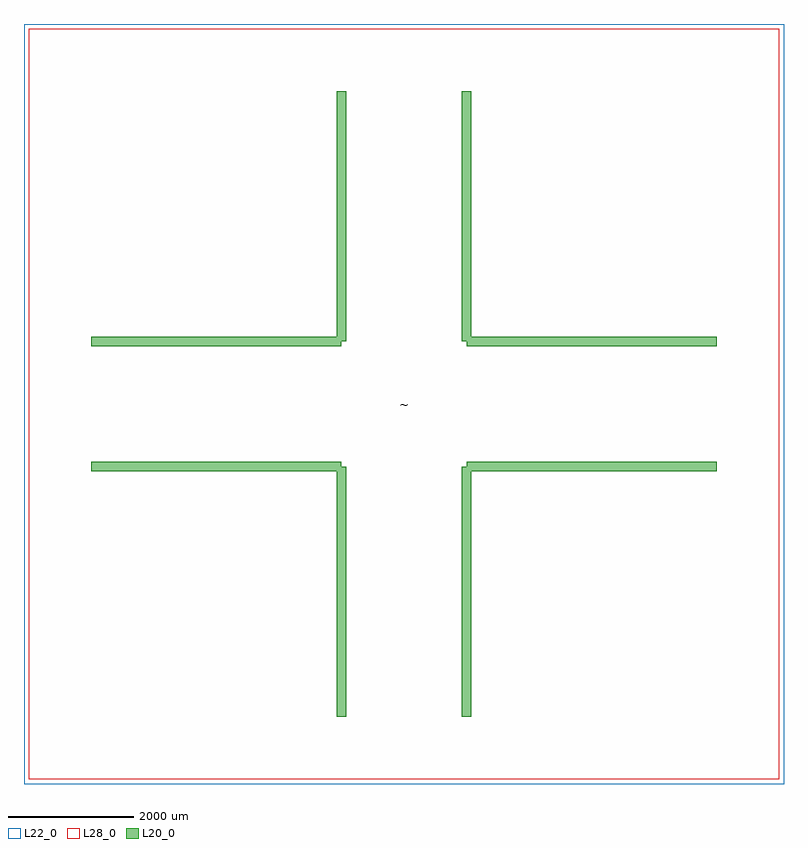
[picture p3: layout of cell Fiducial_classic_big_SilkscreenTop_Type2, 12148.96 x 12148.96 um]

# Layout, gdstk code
import gdstk
lib = gdstk.Library(unit=1e-6, precision=1e-09)
def R(c, l, rs):  # rectangles x0, y0, x1, y1
    for r in rs: c.add(gdstk.rectangle(r[:2], r[2:], *l))
L20_0 = (20, 0)
L22_0 = (22, 0)
L28_0 = (28, 0)

fiducial_classic_big_sil = lib.new_cell('Fiducial_classic_big_SilkscreenTop_Type2')
R(fiducial_classic_big_sil, L22_0, [(-6074.48,-6074.48,6074.48,6074.48)])
R(fiducial_classic_big_sil, L28_0, [(-5999.48,-5999.48,5999.48,5999.48)])
fiducial_classic_big_sil.add(gdstk.FlexPath([(1000.76,1000.76),(1000.76,5001.26)], 149.998, ends="flush", simple_path=True, layer=20, datatype=0))  # L20_0
fiducial_classic_big_sil.add(gdstk.FlexPath([(1000.76,1000.76),(5001.26,1000.76)], 149.998, ends="flush", simple_path=True, layer=20, datatype=0))  # L20_0
fiducial_classic_big_sil.add(gdstk.FlexPath([(1000.76,-1000.76),(5001.26,-1000.76)], 149.998, ends="flush", simple_path=True, layer=20, datatype=0))  # L20_0
fiducial_classic_big_sil.add(gdstk.FlexPath([(1000.76,-1000.76),(1000.76,-5001.26)], 149.998, ends="flush", simple_path=True, layer=20, datatype=0))  # L20_0
fiducial_classic_big_sil.add(gdstk.FlexPath([(-1000.76,1000.76),(-1000.76,5001.26)], 149.998, ends="flush", simple_path=True, layer=20, datatype=0))  # L20_0
fiducial_classic_big_sil.add(gdstk.FlexPath([(-1000.76,1000.76),(-5001.26,1000.76)], 149.998, ends="flush", simple_path=True, layer=20, datatype=0))  # L20_0
fiducial_classic_big_sil.add(gdstk.FlexPath([(-1000.76,-1000.76),(-5001.26,-1000.76)], 149.998, ends="flush", simple_path=True, layer=20, datatype=0))  # L20_0
fiducial_classic_big_sil.add(gdstk.FlexPath([(-1000.76,-1000.76),(-1000.76,-5001.26)], 149.998, ends="flush", simple_path=True, layer=20, datatype=0))  # L20_0
fiducial_classic_big_sil.add(gdstk.Label('~', (0,0), layer=28, texttype=0))
fiducial_classic_big_sil.add(gdstk.Label('type', (0,-7366), layer=9, texttype=0))
fiducial_classic_big_sil.add(gdstk.Label('devicename', (0,7366), layer=9, texttype=0))

lib.write_gds('Fiducial_classic_big_SilkscreenTop_Type2.gds')
